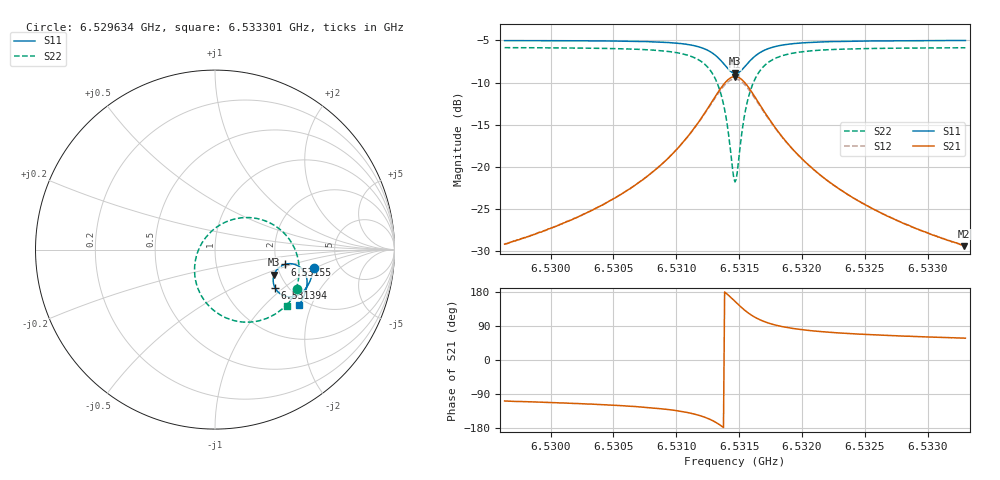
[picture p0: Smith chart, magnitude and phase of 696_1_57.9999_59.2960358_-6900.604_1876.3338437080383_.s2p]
#  HZ  S  RI  R  50.00
! Rohde & Schwarz Vector Network Analyzer
! Rohde-Schwarz,ZNB20-2Port,1311601062101988,3.16
! Created: UTC 3/21/2024, 1:21:28 AM
! freq[Hz]  re:S11  im:S11  re:S21  im:S21  re:S12  im:S12  re:S22  im:S22
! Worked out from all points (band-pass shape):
!   401 points, 6.529634 GHz to 6.533301 GHz, reference 50 ohm
!   highest |S21| = -9.29 dB at 6.531467 GHz (marker M1); lowest = -29.4 dB at 6.533291 GHz (marker M2)
!   |S21| within 3 dB of the highest: 6.531283 GHz to 6.531651 GHz (367 kHz wide, 0.00562 % of centre)
!   lowest |S11| = -8.9 dB at 6.531467 GHz (marker M3), VSWR 2.11, Z = 93.1 - j29.6 ohm
!   |S11| at or under -10 dB: nowhere
!   |S22| runs from -21.8 to -5.9 dB; largest |S21 - S12| = 0.015
!   S11 on the Smith chart (normalised r, x): 6.529634 GHz: 3.23, -0.97; 6.531394 GHz: 1.73, -0.87; 6.53155 GHz: 2.21, -0.43; 6.533301 GHz: 1.83, -1.64
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6.5296342e9  0.5508 -0.1026  -0.0108 -0.0331  -0.0116 -0.0328  0.458 -0.2222
6.5302483e9  0.5372 -0.1548  -0.022 -0.0467  -0.0234 -0.0462  0.4211 -0.2805
6.5305783e9  0.5242 -0.1866  -0.0359 -0.0601  -0.0374 -0.0591  0.3851 -0.3204
6.5308624e9  0.5042 -0.2188  -0.0619 -0.079  -0.0642 -0.077  0.327 -0.3642
6.5310732e9  0.4735 -0.2472  -0.1073 -0.098  -0.1105 -0.094  0.2355 -0.3987
6.5312382e9  0.42 -0.2635  -0.1908 -0.0994  -0.1926 -0.0909  0.0849 -0.3891
6.5313299e9  0.3692 -0.2499  -0.2685 -0.0591  -0.2656 -0.0474  -0.0413 -0.3055
6.5313665e9  0.3474 -0.2319  -0.3001 -0.0218  -0.2938 -0.00972  -0.0866 -0.2362
6.531394e9  0.3339 -0.2116  -0.3184 0.017  -0.3091 0.0279  -0.1089 -0.1684
6.531449e9  0.3251 -0.1579  -0.3219 0.1137  -0.3084 0.119  -0.095 -0.0092
6.5314674e9  0.3297 -0.1388  -0.3102 0.1467  -0.2965 0.1493  -0.0698 0.0418
6.5314857e9  0.3383 -0.1214  -0.2924 0.1763  -0.279 0.1768  -0.0349 0.0867
6.5315224e9  0.3643 -0.0944  -0.2431 0.2213  -0.2323 0.2181  0.0536 0.151
6.5315498e9  0.3875 -0.0829  -0.201 0.2399  -0.1926 0.2353  0.1257 0.1741
6.531614e9  0.4377 -0.0807  -0.1137 0.243  -0.1097 0.2383  0.2715 0.1631
6.5317057e9  0.4818 -0.1048  -0.0388 0.2056  -0.0371 0.2034  0.3919 0.0844
6.5318432e9  0.5069 -0.1445  0.00488 0.1504  0.00619 0.1494  0.4554 -0.0256
6.5320815e9  0.513 -0.1916  0.0219 0.0956  0.0231 0.0951  0.4685 -0.137
6.5323748e9  0.506 -0.2294  0.0234 0.0637  0.0244 0.0632  0.4544 -0.2087
6.5326956e9  0.4947 -0.2604  0.0216 0.0455  0.0225 0.0453  0.4353 -0.2561
6.5332914e9  0.4705 -0.3067  0.0182 0.0287  0.0188 0.0285  0.4004 -0.3128
6.5333006e9  0.4702 -0.3072  0.0182 0.0287  0.0187 0.0282  0.3998 -0.3134
